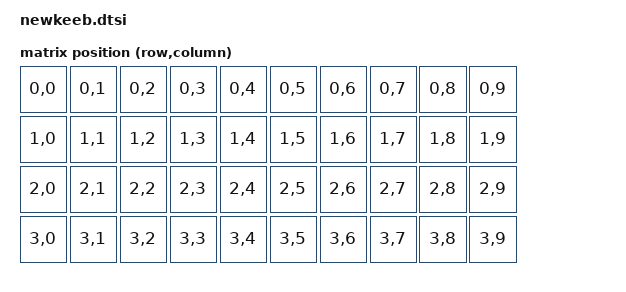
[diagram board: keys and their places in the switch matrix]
/*
 * newKeeb - shared by ALL THREE parts (dongle + left + right).
 *
 * Only what every part must agree on: the matrix transform (ZMK requires it
 * identical on all parts) and the split-input proxies. Everything else is
 * part-specific:
 *   - matrix + i2c + trackpad                     -> newkeeb_half.dtsi (halves)
 *   - mock kscan + input processors + listeners   -> newkeeb_dongle.overlay
 *
 * The input processors (scroll mapper etc.) live ONLY on the dongle: ZMK's
 * processors.dtsi references keymap behaviors (&none) that exist only where
 * there is a keymap - i.e. the central. Pulling it onto the keyless peripherals
 * is what caused the "undefined node label 'none'" error.
 */

#include <dt-bindings/zmk/matrix_transform.h>

/ {
    chosen {
        zmk,matrix-transform = &default_transform;
        zmk,physical-layout = &physical_layout0;
    };

    /* Combined 4x10 transform. Left half = cols 0-4, right half = cols 5-9
     * (the right peripheral sets col-offset = <5> in its overlay). */
    default_transform: keymap_transform_0 {
        compatible = "zmk,matrix-transform";
        columns = <10>;
        rows = <4>;
        map = <
RC(0,0) RC(0,1) RC(0,2) RC(0,3) RC(0,4)    RC(0,5) RC(0,6) RC(0,7) RC(0,8) RC(0,9)
RC(1,0) RC(1,1) RC(1,2) RC(1,3) RC(1,4)    RC(1,5) RC(1,6) RC(1,7) RC(1,8) RC(1,9)
RC(2,0) RC(2,1) RC(2,2) RC(2,3) RC(2,4)    RC(2,5) RC(2,6) RC(2,7) RC(2,8) RC(2,9)
RC(3,0) RC(3,1) RC(3,2) RC(3,3) RC(3,4)    RC(3,5) RC(3,6) RC(3,7) RC(3,8) RC(3,9)
        >;
    };

    physical_layout0: physical_layout_0 {
        compatible = "zmk,physical-layout";
        display-name = "Default Layout";
        transform = <&default_transform>;
    };

    /*
     * Split input proxies. Each half binds its local trackpad to one of these in
     * its overlay; the dongle attaches a listener to each. On the dongle these
     * stay device-less (they are the remote proxies).
     */
    split_inputs {
        #address-cells = <1>;
        #size-cells = <0>;

        /*
         * Disabled by default. A peripheral must give any ENABLED input-split a
         * `device`, so each half enables only its own (with device) in its
         * overlay; the dongle enables both as device-less receive proxies.
         */
        left_input: left_input@0 {
            compatible = "zmk,input-split";
            reg = <0>;
            status = "disabled";
        };
        right_input: right_input@1 {
            compatible = "zmk,input-split";
            reg = <1>;
            status = "disabled";
        };
    };
};
